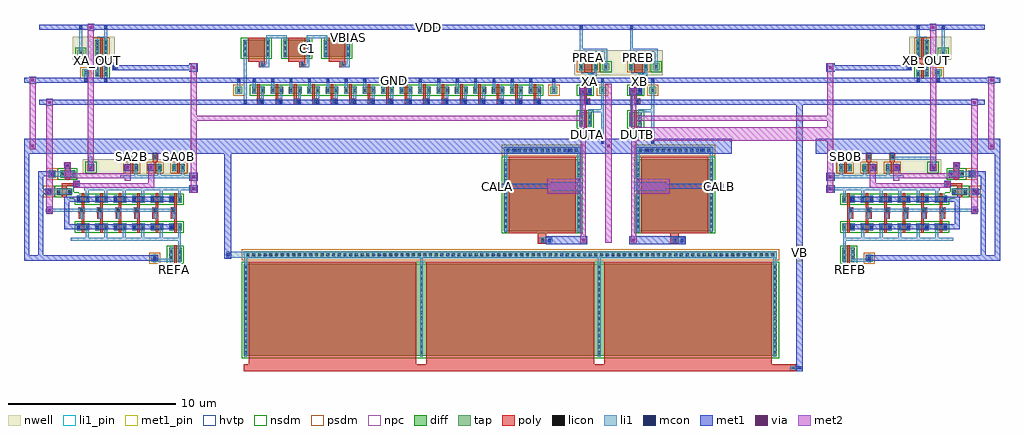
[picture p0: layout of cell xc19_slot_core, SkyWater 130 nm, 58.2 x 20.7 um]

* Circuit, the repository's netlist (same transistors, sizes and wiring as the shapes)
* NGSPICE file created from xc19_slot_core.ext - technology: sky130A

.subckt xc19_slot_core XB_OUT SB0B SB1B REFB XA_OUT SA0B SA1B SA2B REFA VDD GND VBIAS
+ C1 PREA XA DUTA PREB XB DUTB VB CALA CALB
X0 XB PREB VDD VDD sky130_fd_pr__pfet_01v8_hvt ad=0.126 pd=1.44 as=0.126 ps=1.44 w=0.42 l=0.5
X1 VB VB GND GND sky130_fd_pr__nfet_01v8 ad=0.126 pd=1.44 as=0.126 ps=1.44 w=0.42 l=0.15
X2 a_n2000_n1632# VB a_n2090_n1632# GND sky130_fd_pr__nfet_01v8 ad=0.126 pd=1.44 as=0.126 ps=1.44 w=0.42 l=0.15
X3 GND a_7370_n924# GND GND sky130_fd_pr__nfet_01v8 ad=0.126 pd=1.44 as=19.482 ps=131.88 w=0.42 l=0.3
X4 a_7130_n1632# VB a_7040_n2004# GND sky130_fd_pr__nfet_01v8 ad=0.126 pd=1.44 as=0.126 ps=1.44 w=0.42 l=0.15
X5 a_7130_n1632# VB a_7040_n2004# GND sky130_fd_pr__nfet_01v8 ad=0.126 pd=1.44 as=0.126 ps=1.44 w=0.42 l=0.15
X6 GND XB GND GND sky130_fd_pr__nfet_01v8 ad=1.29 pd=9.2 as=0 ps=0 w=4.3 l=4
X7 XA PREA VDD VDD sky130_fd_pr__pfet_01v8_hvt ad=0.126 pd=1.44 as=0.126 ps=1.44 w=0.42 l=0.5
X8 VB VB GND GND sky130_fd_pr__nfet_01v8 ad=0.126 pd=1.44 as=0.126 ps=1.44 w=0.42 l=0.15
X9 VB VB GND GND sky130_fd_pr__nfet_01v8 ad=0.126 pd=1.44 as=0.126 ps=1.44 w=0.42 l=0.15
X10 XA VB a_n2090_n1632# GND sky130_fd_pr__nfet_01v8 ad=0.126 pd=1.44 as=0.126 ps=1.44 w=0.42 l=0.15
X11 XA VB a_n2090_n1632# GND sky130_fd_pr__nfet_01v8 ad=0.126 pd=1.44 as=0.126 ps=1.44 w=0.42 l=0.15
X12 GND REFB a_7040_n2004# GND sky130_fd_pr__nfet_01v8 ad=0.252 pd=2.28 as=0.252 ps=2.28 w=0.84 l=0.15
X13 GND XA GND GND sky130_fd_pr__nfet_01v8 ad=1.29 pd=9.2 as=0 ps=0 w=4.3 l=4
X14 a_7650_n924# VDD XB VDD sky130_fd_pr__pfet_01v8 ad=0.126 pd=1.44 as=0.126 ps=1.44 w=0.42 l=0.15
X15 a_7130_n1632# VB XB GND sky130_fd_pr__nfet_01v8 ad=0.126 pd=1.44 as=0.126 ps=1.44 w=0.42 l=0.15
X16 a_7130_n1632# VB XB GND sky130_fd_pr__nfet_01v8 ad=0.126 pd=1.44 as=0.126 ps=1.44 w=0.42 l=0.15
X17 XB_OUT XB VDD VDD sky130_fd_pr__pfet_01v8_hvt ad=0.3 pd=2.6 as=0.3 ps=2.6 w=1 l=0.15
X18 VB VB GND GND sky130_fd_pr__nfet_01v8 ad=0.126 pd=1.44 as=0.126 ps=1.44 w=0.42 l=0.15
X19 XB_OUT XB GND GND sky130_fd_pr__nfet_01v8 ad=0.195 pd=1.9 as=0.195 ps=1.9 w=0.65 l=0.15
X20 VB VB GND GND sky130_fd_pr__nfet_01v8 ad=0.126 pd=1.44 as=0.126 ps=1.44 w=0.42 l=0.15
X21 XA SA2B a_n2233_n890# VDD sky130_fd_pr__pfet_01v8 ad=0.126 pd=1.44 as=0.126 ps=1.44 w=0.42 l=0.15
X22 a_7370_n924# SB1B XB VDD sky130_fd_pr__pfet_01v8 ad=0.126 pd=1.44 as=0.126 ps=1.44 w=0.42 l=0.15
X23 VB VB GND GND sky130_fd_pr__nfet_01v8 ad=0.126 pd=1.44 as=0.126 ps=1.44 w=0.42 l=0.15
X24 GND a_n2233_n890# GND GND sky130_fd_pr__nfet_01v8 ad=0.126 pd=1.44 as=0 ps=0 w=0.42 l=0.3
X25 a_n2000_n1632# VB a_n2090_n1632# GND sky130_fd_pr__nfet_01v8 ad=0.126 pd=1.44 as=0.126 ps=1.44 w=0.42 l=0.15
X26 VB VB GND GND sky130_fd_pr__nfet_01v8 ad=0.126 pd=1.44 as=0.126 ps=1.44 w=0.42 l=0.15
X27 XA VB a_3900_n392# GND sky130_fd_pr__nfet_01v8 ad=0.126 pd=1.44 as=0.126 ps=1.44 w=0.42 l=0.15
X28 GND a_7650_n924# GND GND sky130_fd_pr__nfet_01v8 ad=0.126 pd=1.44 as=0 ps=0 w=0.42 l=0.3
X29 a_7130_n1632# VB a_7040_n2004# GND sky130_fd_pr__nfet_01v8 ad=0.126 pd=1.44 as=0.126 ps=1.44 w=0.42 l=0.15
X30 XB VB a_4500_n392# GND sky130_fd_pr__nfet_01v8 ad=0.126 pd=1.44 as=0.126 ps=1.44 w=0.42 l=0.15
X31 XA SA1B a_n2270_n1236# VDD sky130_fd_pr__pfet_01v8 ad=0.126 pd=1.44 as=0.126 ps=1.44 w=0.42 l=0.15
X32 a_7090_n924# SB0B XB VDD sky130_fd_pr__pfet_01v8 ad=0.126 pd=1.44 as=0.126 ps=1.44 w=0.42 l=0.15
X33 XA VB a_n2090_n1632# GND sky130_fd_pr__nfet_01v8 ad=0.126 pd=1.44 as=0.126 ps=1.44 w=0.42 l=0.15
X34 a_n2000_n1632# REFA GND GND sky130_fd_pr__nfet_01v8 ad=0.252 pd=2.28 as=0.252 ps=2.28 w=0.84 l=0.15
X35 VB VB GND GND sky130_fd_pr__nfet_01v8 ad=0.126 pd=1.44 as=0.126 ps=1.44 w=0.42 l=0.15
X36 XA SA0B a_n950_n924# VDD sky130_fd_pr__pfet_01v8 ad=0.126 pd=1.44 as=0.126 ps=1.44 w=0.42 l=0.15
X37 a_7130_n1632# VB XB GND sky130_fd_pr__nfet_01v8 ad=0.126 pd=1.44 as=0.126 ps=1.44 w=0.42 l=0.15
X38 VB VB GND GND sky130_fd_pr__nfet_01v8 ad=0.126 pd=1.44 as=0.126 ps=1.44 w=0.42 l=0.15
X39 VB VB GND GND sky130_fd_pr__nfet_01v8 ad=0.126 pd=1.44 as=0.126 ps=1.44 w=0.42 l=0.15
X40 GND VB GND GND sky130_fd_pr__nfet_01v8 ad=1.65 pd=6.1 as=0 ps=0 w=5.5 l=10
X41 VDD XA XA_OUT VDD sky130_fd_pr__pfet_01v8_hvt ad=0.3 pd=2.6 as=0.3 ps=2.6 w=1 l=0.15
X42 GND XA XA_OUT GND sky130_fd_pr__nfet_01v8 ad=0.195 pd=1.9 as=0.195 ps=1.9 w=0.65 l=0.15
X43 VB VB GND GND sky130_fd_pr__nfet_01v8 ad=0.126 pd=1.44 as=0.126 ps=1.44 w=0.42 l=0.15
X44 a_n48_382# a_n48_382# VB GND sky130_fd_pr__nfet_01v8 ad=0.3 pd=2.6 as=0.3 ps=2.6 w=1 l=1
X45 GND a_n2270_n1236# GND GND sky130_fd_pr__nfet_01v8 ad=0.126 pd=1.44 as=0 ps=0 w=0.42 l=0.3
X46 a_7130_n1632# VB a_7040_n2004# GND sky130_fd_pr__nfet_01v8 ad=0.126 pd=1.44 as=0.126 ps=1.44 w=0.42 l=0.15
X47 VB VB GND GND sky130_fd_pr__nfet_01v8 ad=0.126 pd=1.44 as=0.126 ps=1.44 w=0.42 l=0.15
X48 a_n2000_n1632# VB a_n2090_n1632# GND sky130_fd_pr__nfet_01v8 ad=0.126 pd=1.44 as=0.126 ps=1.44 w=0.42 l=0.15
X49 a_n2000_n1632# VB a_n2090_n1632# GND sky130_fd_pr__nfet_01v8 ad=0.126 pd=1.44 as=0.126 ps=1.44 w=0.42 l=0.15
X50 GND DUTB a_4500_n392# GND sky130_fd_pr__nfet_01v8 ad=0.252 pd=2.28 as=0.252 ps=2.28 w=0.84 l=0.15
X51 a_7130_n1632# VB XB GND sky130_fd_pr__nfet_01v8 ad=0.126 pd=1.44 as=0.126 ps=1.44 w=0.42 l=0.15
X52 a_7130_n1632# VB a_7040_n2004# GND sky130_fd_pr__nfet_01v8 ad=0.126 pd=1.44 as=0.126 ps=1.44 w=0.42 l=0.15
X53 GND VB GND GND sky130_fd_pr__nfet_01v8 ad=1.65 pd=11.6 as=0 ps=0 w=5.5 l=10
X54 a_7130_n1632# VB a_7040_n2004# GND sky130_fd_pr__nfet_01v8 ad=0.126 pd=1.44 as=0.126 ps=1.44 w=0.42 l=0.15
X55 VB VB GND GND sky130_fd_pr__nfet_01v8 ad=0.126 pd=1.44 as=0.126 ps=1.44 w=0.42 l=0.15
X56 VB VB GND GND sky130_fd_pr__nfet_01v8 ad=0.126 pd=1.44 as=0.126 ps=1.44 w=0.42 l=0.15
X57 XA VB a_n2090_n1632# GND sky130_fd_pr__nfet_01v8 ad=0.126 pd=1.44 as=0.126 ps=1.44 w=0.42 l=0.15
X58 XA VB a_n2090_n1632# GND sky130_fd_pr__nfet_01v8 ad=0.126 pd=1.44 as=0.126 ps=1.44 w=0.42 l=0.15
X59 GND VB GND GND sky130_fd_pr__nfet_01v8 ad=1.65 pd=6.1 as=0 ps=0 w=5.5 l=10
X60 GND DUTA a_3900_n392# GND sky130_fd_pr__nfet_01v8 ad=0.252 pd=2.28 as=0.252 ps=2.28 w=0.84 l=0.15
X61 a_7130_n1632# VB XB GND sky130_fd_pr__nfet_01v8 ad=0.126 pd=1.44 as=0.126 ps=1.44 w=0.42 l=0.15
X62 a_7130_n1632# VB XB GND sky130_fd_pr__nfet_01v8 ad=0.126 pd=1.44 as=0.126 ps=1.44 w=0.42 l=0.15
X63 C1 C1 a_n48_382# GND sky130_fd_pr__nfet_01v8 ad=0.3 pd=2.6 as=0.3 ps=2.6 w=1 l=1
X64 VB VB GND GND sky130_fd_pr__nfet_01v8 ad=0.126 pd=1.44 as=0.126 ps=1.44 w=0.42 l=0.15
X65 VBIAS VBIAS C1 GND sky130_fd_pr__nfet_01v8 ad=0.3 pd=2.6 as=0.3 ps=2.6 w=1 l=1
X66 a_n2000_n1632# VB a_n2090_n1632# GND sky130_fd_pr__nfet_01v8 ad=0.126 pd=1.44 as=0.126 ps=1.44 w=0.42 l=0.15
X67 VB VB GND GND sky130_fd_pr__nfet_01v8 ad=0.126 pd=1.44 as=0.126 ps=1.44 w=0.42 l=0.15
X68 XA VB a_n2090_n1632# GND sky130_fd_pr__nfet_01v8 ad=0.126 pd=1.44 as=0.126 ps=1.44 w=0.42 l=0.15
X69 a_n2000_n1632# VB a_n2090_n1632# GND sky130_fd_pr__nfet_01v8 ad=0.126 pd=1.44 as=0.126 ps=1.44 w=0.42 l=0.15
.ends

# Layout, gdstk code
import gdstk
lib = gdstk.Library(unit=1e-6, precision=1e-09)
def R(c, l, rs):  # rectangles x0, y0, x1, y1
    for r in rs: c.add(gdstk.rectangle(r[:2], r[2:], *l))
def A(c, l, x, y, w, h, nx, ny, dx, dy):  # array of equal rectangles
    R(c, l, [(x+i*dx, y+j*dy, x+i*dx+w, y+j*dy+h) for i in range(nx) for j in range(ny)])
nwell = (64, 20)
diff = (65, 20)
tap = (65, 44)
poly = (66, 20)
licon = (66, 44)
li1_pin = (67, 16)
li1 = (67, 20)
mcon = (67, 44)
met1_pin = (68, 16)
met1 = (68, 20)
via = (68, 44)
met2 = (69, 20)
hvtp = (78, 44)
nsdm = (93, 44)
psdm = (94, 20)
npc = (95, 20)

xc19_slot_core = lib.new_cell('xc19_slot_core')
R(xc19_slot_core, nwell, [(-10.1,-4.82,-3.8,-3.92), (34.8,-4.82,41.1,-3.92), (19.2,1.1,24.5,2.6), (-10.7,2.02,-8.2,3.4), (39.2,2.02,41.7,3.4)])
A(xc19_slot_core, diff, -10.45, -8.16, 0.75, 0.42, 6, 2, 1.1, 1.66)
A(xc19_slot_core, diff, 35.2, -8.16, 0.75, 0.42, 6, 2, 1.1, 1.66)
A(xc19_slot_core, diff, -7.55, -4.62, 0.75, 0.42, 3, 1, 1.4, 0)
A(xc19_slot_core, diff, 35, -4.62, 0.75, 0.42, 3, 1, 1.4, 0)
A(xc19_slot_core, diff, 0, 0, 0.75, 0.42, 16, 1, 1.1, 0)
A(xc19_slot_core, diff, -0.54, 2.2, 1.6, 1, 3, 1, 2.4, 0)
R(xc19_slot_core, diff, [(-0.5,-15.64,31.3,-10.14), (-4.95,-10.02,-4.2,-9.18), (35.2,-10.02,35.95,-9.18), (15,-8.2,19.6,-3.9), (22.9,-8.2,27.5,-3.9), (-11.65,-6.05,-10.75,-5.63), (41.75,-6.05,42.65,-5.63), (-11.45,-5,-10.55,-4.58), (41.55,-5,42.45,-4.58), (19.5,-1.96,20.25,-1.12), (22.5,-1.96,23.25,-1.12), (19.5,0,20.25,0.42), (22.5,0,23.25,0.42), (-9.35,1.03,-8.6,1.68), (39.6,1.03,40.35,1.68), (19.5,1.4,20.6,1.82), (22.5,1.4,23.6,1.82), (-9.35,2.2,-8.6,3.2), (39.6,2.2,40.35,3.2)])
R(xc19_slot_core, tap, [(-6.02,-10.02,-5.6,-9.6), (36.6,-10.02,37.02,-9.6), (-0.5,-9.82,31.3,-9.4), (-12.34,-6.05,-11.92,-5.63), (42.92,-6.05,43.34,-5.63), (-12.14,-5,-11.72,-4.58), (42.72,-5,43.14,-4.58), (-9.82,-4.62,-9.4,-4.2), (40.4,-4.62,40.82,-4.2), (15,-3.58,19.6,-3.16), (22.9,-3.58,27.5,-3.16), (-1.01,0,-0.59,0.42), (17.79,0,18.21,0.42), (20.69,0,21.11,0.42), (23.69,0,24.11,0.42), (-10.12,1.03,-9.7,1.45), (40.7,1.03,41.12,1.45), (20.89,1.4,21.31,1.82), (23.89,1.4,24.31,1.82), (-10.42,2.2,-10,2.62), (41,2.2,41.42,2.62)])
A(xc19_slot_core, poly, -0.2, -16.14, 10, 6.13, 3, 1, 10.6, 0)
A(xc19_slot_core, poly, -10.15, -8.29, 0.15, 0.84, 6, 2, 1.1, 1.5)
A(xc19_slot_core, poly, 35.5, -8.29, 0.15, 0.84, 6, 2, 1.1, 1.5)
A(xc19_slot_core, poly, -10.34, -7.45, 0.34, 0.66, 6, 1, 1.1, 0)
A(xc19_slot_core, poly, 35.5, -7.45, 0.34, 0.66, 6, 1, 1.1, 0)
A(xc19_slot_core, poly, -7.25, -4.75, 0.15, 0.68, 3, 1, 1.4, 0)
A(xc19_slot_core, poly, 35.3, -4.75, 0.15, 0.68, 3, 1, 1.4, 0)
A(xc19_slot_core, poly, -7.335, -4.07, 0.32, 0.55, 3, 1, 1.4, 0)
A(xc19_slot_core, poly, 35.215, -4.07, 0.32, 0.55, 3, 1, 1.4, 0)
A(xc19_slot_core, poly, 0.3, -0.62, 0.34, 0.33, 16, 1, 1.1, 0)
A(xc19_slot_core, poly, 0.3, -0.29, 0.15, 0.84, 16, 1, 1.1, 0)
A(xc19_slot_core, poly, 0.42, 1.58, 0.34, 0.33, 3, 1, 2.4, 0)
A(xc19_slot_core, poly, -0.24, 1.91, 1, 1.42, 3, 1, 2.4, 0)
R(xc19_slot_core, poly, [(-0.5,-16.54,32.45,-16.14), (-4.84,-10.7,-4.5,-10.15), (35.5,-10.7,35.84,-10.15), (-4.65,-10.15,-4.5,-9.05), (35.5,-10.15,35.65,-9.05), (17.05,-8.95,17.55,-8.33), (24.95,-8.95,25.45,-8.33), (15.3,-8.33,19.3,-3.77), (23.2,-8.33,27.2,-3.77), (-11.35,-6.18,-11.05,-5.5), (42.05,-6.18,42.35,-5.5), (-10.63,-5.555,-10.3,-5.5), (41.3,-5.555,41.63,-5.5), (-11.35,-5.5,-10.3,-5.34), (41.3,-5.5,42.35,-5.34), (-10.63,-5.34,-10.3,-5.225), (41.3,-5.34,41.63,-5.225), (-11.15,-5.13,-10.85,-4.45), (41.85,-5.13,42.15,-4.45), (-11.165,-4.45,-10.835,-4.12), (41.835,-4.45,42.165,-4.12), (19.8,-2.62,20.14,-2.09), (22.8,-2.62,23.14,-2.09), (19.8,-2.09,19.95,-0.99), (22.8,-2.09,22.95,-0.99), (19.8,-0.62,20.14,-0.29), (22.8,-0.62,23.14,-0.29), (19.8,-0.29,19.95,0.55), (22.8,-0.29,22.95,0.55), (-9.05,0.9,-8.9,1.8), (39.9,0.9,40.05,1.8), (19.8,1.27,20.3,1.95), (22.8,1.27,23.3,1.95), (-9.05,1.8,-8,2.1), (39,1.8,40.05,2.1), (19.915,1.95,20.185,2.37), (22.915,1.95,23.185,2.37), (-9.05,2.1,-8.9,3.33), (39.9,2.1,40.05,3.33)])
A(xc19_slot_core, licon, -0.46, -15.525, 0.17, 0.17, 1, 16, 0, 0.34)
A(xc19_slot_core, licon, 10.015, -15.525, 0.17, 0.17, 1, 16, 0, 0.34)
A(xc19_slot_core, licon, 20.615, -15.525, 0.17, 0.17, 1, 16, 0, 0.34)
A(xc19_slot_core, licon, 31.09, -15.525, 0.17, 0.17, 1, 16, 0, 0.34)
A(xc19_slot_core, licon, -0.325, -9.695, 0.17, 0.17, 93, 1, 0.34, 0)
A(xc19_slot_core, licon, 15.04, -8.005, 0.17, 0.17, 1, 12, 0, 0.34)
A(xc19_slot_core, licon, 19.39, -8.005, 0.17, 0.17, 1, 12, 0, 0.34)
A(xc19_slot_core, licon, 22.94, -8.005, 0.17, 0.17, 1, 12, 0, 0.34)
A(xc19_slot_core, licon, 27.29, -8.005, 0.17, 0.17, 1, 12, 0, 0.34)
A(xc19_slot_core, licon, -10.26, -7.04, 0.17, 0.17, 6, 1, 1.1, 0)
A(xc19_slot_core, licon, 35.59, -7.04, 0.17, 0.17, 6, 1, 1.1, 0)
A(xc19_slot_core, licon, -7.26, -3.85, 0.17, 0.17, 3, 1, 1.4, 0)
A(xc19_slot_core, licon, 35.29, -3.85, 0.17, 0.17, 3, 1, 1.4, 0)
A(xc19_slot_core, licon, 15.175, -3.455, 0.17, 0.17, 13, 1, 0.34, 0)
A(xc19_slot_core, licon, 23.075, -3.455, 0.17, 0.17, 13, 1, 0.34, 0)
A(xc19_slot_core, licon, 0.39, -0.54, 0.17, 0.17, 16, 1, 1.1, 0)
A(xc19_slot_core, licon, 0.51, 1.66, 0.17, 0.17, 3, 1, 2.4, 0)
A(xc19_slot_core, licon, -9.31, 2.275, 0.17, 0.17, 1, 3, 0, 0.34)
A(xc19_slot_core, licon, -8.81, 2.275, 0.17, 0.17, 1, 3, 0, 0.34)
A(xc19_slot_core, licon, -0.5, 2.275, 0.17, 0.17, 1, 3, 0, 0.34)
A(xc19_slot_core, licon, 0.85, 2.275, 0.17, 0.17, 1, 3, 0, 0.34)
A(xc19_slot_core, licon, 1.9, 2.275, 0.17, 0.17, 1, 3, 0, 0.34)
A(xc19_slot_core, licon, 3.25, 2.275, 0.17, 0.17, 1, 3, 0, 0.34)
A(xc19_slot_core, licon, 4.3, 2.275, 0.17, 0.17, 1, 3, 0, 0.34)
A(xc19_slot_core, licon, 5.65, 2.275, 0.17, 0.17, 1, 3, 0, 0.34)
A(xc19_slot_core, licon, 39.64, 2.275, 0.17, 0.17, 1, 3, 0, 0.34)
A(xc19_slot_core, licon, 40.14, 2.275, 0.17, 0.17, 1, 3, 0, 0.34)
R(xc19_slot_core, licon, [(32.2,-16.425,32.37,-16.255), (-4.76,-10.58,-4.59,-10.41), (35.59,-10.58,35.76,-10.41), (-5.895,-9.895,-5.725,-9.725), (36.725,-9.895,36.895,-9.725), (-4.91,-9.855,-4.74,-9.685), (-4.41,-9.855,-4.24,-9.685), (35.24,-9.855,35.41,-9.685), (35.74,-9.855,35.91,-9.685), (-4.91,-9.515,-4.74,-9.345), (-4.41,-9.515,-4.24,-9.345), (35.24,-9.515,35.41,-9.345), (35.74,-9.515,35.91,-9.345), (17.215,-8.82,17.385,-8.65), (25.115,-8.82,25.285,-8.65), (-10.41,-8.035,-10.24,-7.865), (-9.91,-8.035,-9.74,-7.865), (-9.31,-8.035,-9.14,-7.865), (-8.81,-8.035,-8.64,-7.865), (-8.21,-8.035,-8.04,-7.865), (-7.71,-8.035,-7.54,-7.865), (-7.11,-8.035,-6.94,-7.865), (-6.61,-8.035,-6.44,-7.865), (-6.01,-8.035,-5.84,-7.865), (-5.51,-8.035,-5.34,-7.865), (-4.91,-8.035,-4.74,-7.865), (-4.41,-8.035,-4.24,-7.865), (35.24,-8.035,35.41,-7.865), (35.74,-8.035,35.91,-7.865), (36.34,-8.035,36.51,-7.865), (36.84,-8.035,37.01,-7.865), (37.44,-8.035,37.61,-7.865), (37.94,-8.035,38.11,-7.865), (38.54,-8.035,38.71,-7.865), (39.04,-8.035,39.21,-7.865), (39.64,-8.035,39.81,-7.865), (40.14,-8.035,40.31,-7.865), (40.74,-8.035,40.91,-7.865), (41.24,-8.035,41.41,-7.865), (-10.41,-6.375,-10.24,-6.205), (-9.91,-6.375,-9.74,-6.205), (-9.31,-6.375,-9.14,-6.205), (-8.81,-6.375,-8.64,-6.205), (-8.21,-6.375,-8.04,-6.205), (-7.71,-6.375,-7.54,-6.205), (-7.11,-6.375,-6.94,-6.205), (-6.61,-6.375,-6.44,-6.205), (-6.01,-6.375,-5.84,-6.205), (-5.51,-6.375,-5.34,-6.205), (-4.91,-6.375,-4.74,-6.205), (-4.41,-6.375,-4.24,-6.205), (35.24,-6.375,35.41,-6.205), (35.74,-6.375,35.91,-6.205), (36.34,-6.375,36.51,-6.205), (36.84,-6.375,37.01,-6.205), (37.44,-6.375,37.61,-6.205), (37.94,-6.375,38.11,-6.205), (38.54,-6.375,38.71,-6.205), (39.04,-6.375,39.21,-6.205), (39.64,-6.375,39.81,-6.205), (40.14,-6.375,40.31,-6.205), (40.74,-6.375,40.91,-6.205), (41.24,-6.375,41.41,-6.205), (-12.215,-5.925,-12.045,-5.755), (-11.61,-5.925,-11.44,-5.755), (-10.96,-5.925,-10.79,-5.755), (41.79,-5.925,41.96,-5.755), (42.44,-5.925,42.61,-5.755), (43.045,-5.925,43.215,-5.755), (-10.55,-5.475,-10.38,-5.305), (41.38,-5.475,41.55,-5.305), (-12.015,-4.875,-11.845,-4.705), (-11.41,-4.875,-11.24,-4.705), (-10.76,-4.875,-10.59,-4.705), (41.59,-4.875,41.76,-4.705), (42.24,-4.875,42.41,-4.705), (42.845,-4.875,43.015,-4.705), (-9.695,-4.495,-9.525,-4.325), (-7.51,-4.495,-7.34,-4.325), (-7.01,-4.495,-6.84,-4.325), (-6.11,-4.495,-5.94,-4.325), (-5.61,-4.495,-5.44,-4.325), (-4.71,-4.495,-4.54,-4.325), (-4.21,-4.495,-4.04,-4.325), (35.04,-4.495,35.21,-4.325), (35.54,-4.495,35.71,-4.325), (36.44,-4.495,36.61,-4.325), (36.94,-4.495,37.11,-4.325), (37.84,-4.495,38.01,-4.325), (38.34,-4.495,38.51,-4.325), (40.525,-4.495,40.695,-4.325), (-11.085,-4.37,-10.915,-4.2), (41.915,-4.37,42.085,-4.2), (19.89,-2.54,20.06,-2.37), (22.89,-2.54,23.06,-2.37), (19.54,-1.795,19.71,-1.625), (20.04,-1.795,20.21,-1.625), (22.54,-1.795,22.71,-1.625), (23.04,-1.795,23.21,-1.625), (19.54,-1.455,19.71,-1.285), (20.04,-1.455,20.21,-1.285), (22.54,-1.455,22.71,-1.285), (23.04,-1.455,23.21,-1.285), (19.89,-0.54,20.06,-0.37), (22.89,-0.54,23.06,-0.37), (-0.885,0.125,-0.715,0.295), (0.04,0.125,0.21,0.295), (0.54,0.125,0.71,0.295), (1.14,0.125,1.31,0.295), (1.64,0.125,1.81,0.295), (2.24,0.125,2.41,0.295), (2.74,0.125,2.91,0.295), (3.34,0.125,3.51,0.295), (3.84,0.125,4.01,0.295), (4.44,0.125,4.61,0.295), (4.94,0.125,5.11,0.295), (5.54,0.125,5.71,0.295), (6.04,0.125,6.21,0.295), (6.64,0.125,6.81,0.295), (7.14,0.125,7.31,0.295), (7.74,0.125,7.91,0.295), (8.24,0.125,8.41,0.295), (8.84,0.125,9.01,0.295), (9.34,0.125,9.51,0.295), (9.94,0.125,10.11,0.295), (10.44,0.125,10.61,0.295), (11.04,0.125,11.21,0.295), (11.54,0.125,11.71,0.295), (12.14,0.125,12.31,0.295), (12.64,0.125,12.81,0.295), (13.24,0.125,13.41,0.295), (13.74,0.125,13.91,0.295), (14.34,0.125,14.51,0.295), (14.84,0.125,15.01,0.295), (15.44,0.125,15.61,0.295), (15.94,0.125,16.11,0.295), (16.54,0.125,16.71,0.295), (17.04,0.125,17.21,0.295), (17.915,0.125,18.085,0.295), (19.54,0.125,19.71,0.295), (20.04,0.125,20.21,0.295), (20.815,0.125,20.985,0.295), (22.54,0.125,22.71,0.295), (23.04,0.125,23.21,0.295), (23.815,0.125,23.985,0.295), (-9.31,1.1,-9.14,1.27), (-8.81,1.1,-8.64,1.27), (39.64,1.1,39.81,1.27), (40.14,1.1,40.31,1.27), (-9.995,1.155,-9.825,1.325), (40.825,1.155,40.995,1.325), (-9.31,1.44,-9.14,1.61), (-8.81,1.44,-8.64,1.61), (39.64,1.44,39.81,1.61), (40.14,1.44,40.31,1.61), (19.54,1.525,19.71,1.695), (20.39,1.525,20.56,1.695), (21.015,1.525,21.185,1.695), (22.54,1.525,22.71,1.695), (23.39,1.525,23.56,1.695), (24.015,1.525,24.185,1.695), (-8.27,1.865,-8.1,2.035), (39.1,1.865,39.27,2.035), (19.965,2.07,20.135,2.24), (22.965,2.07,23.135,2.24), (-10.295,2.325,-10.125,2.495), (41.125,2.325,41.295,2.495)])
A(xc19_slot_core, li1_pin, -7.26, -3.93, 0.17, 0.35, 3, 1, 1.4, 0)
R(xc19_slot_core, li1_pin, [(-4.76,-10.67,-4.59,-10.32), (35.59,-10.67,35.76,-10.32), (35.29,-3.93,35.46,-3.58), (36.69,-3.93,36.86,-3.58), (19.89,-2.62,20.06,-2.29), (22.89,-2.62,23.06,-2.29), (20.04,0.6,20.21,0.9), (23.04,0.6,23.21,0.9), (-9.31,1.8,-9.14,2.1), (40.14,1.8,40.31,2.1), (19.965,1.99,20.135,2.32), (22.965,1.99,23.135,2.32), (3.25,2.4,3.42,3), (5.65,3.2,5.82,3.47)])
A(xc19_slot_core, li1, -9.91, -8.59, 0.17, 0.87, 6, 1, 1.1, 0)
A(xc19_slot_core, li1, 35.24, -8.59, 0.17, 0.87, 6, 1, 1.1, 0)
A(xc19_slot_core, li1, -10.41, -8.18, 0.17, 0.46, 6, 2, 1.1, 1.66)
A(xc19_slot_core, li1, 35.74, -8.18, 0.17, 0.46, 6, 2, 1.1, 1.66)
A(xc19_slot_core, li1, -10.26, -7.45, 0.17, 0.41, 6, 1, 1.1, 0)
A(xc19_slot_core, li1, 35.59, -7.45, 0.17, 0.41, 6, 1, 1.1, 0)
A(xc19_slot_core, li1, -10.26, -6.87, 0.17, 0.08, 6, 1, 1.1, 0)
A(xc19_slot_core, li1, 35.59, -6.87, 0.17, 0.08, 6, 1, 1.1, 0)
A(xc19_slot_core, li1, -9.91, -6.52, 0.17, 0.77, 6, 1, 1.1, 0)
A(xc19_slot_core, li1, 35.24, -6.52, 0.17, 0.77, 6, 1, 1.1, 0)
A(xc19_slot_core, li1, -7.01, -4.88, 0.17, 0.7, 3, 1, 1.4, 0)
A(xc19_slot_core, li1, 35.04, -4.88, 0.17, 0.7, 3, 1, 1.4, 0)
A(xc19_slot_core, li1, -7.51, -4.64, 0.17, 0.46, 3, 1, 1.4, 0)
A(xc19_slot_core, li1, 35.54, -4.64, 0.17, 0.46, 3, 1, 1.4, 0)
A(xc19_slot_core, li1, -7.26, -3.93, 0.17, 0.35, 3, 1, 1.4, 0)
A(xc19_slot_core, li1, 0.39, -0.62, 0.32, 0.33, 16, 1, 1.1, 0)
A(xc19_slot_core, li1, 0.54, -0.29, 0.17, 0.73, 16, 1, 1.1, 0)
A(xc19_slot_core, li1, 0.04, -0.02, 0.17, 0.97, 16, 1, 1.1, 0)
A(xc19_slot_core, li1, 0.51, 1.58, 0.51, 0.17, 3, 1, 2.4, 0)
A(xc19_slot_core, li1, 0.51, 1.75, 0.17, 0.16, 3, 1, 2.4, 0)
R(xc19_slot_core, li1, [(32.12,-16.425,32.8,-16.255), (-0.46,-15.69,-0.29,-9.78), (10.015,-15.69,10.185,-9.78), (20.615,-15.69,20.785,-9.78), (31.09,-15.69,31.26,-9.78), (-4.76,-10.67,-4.59,-10.32), (35.59,-10.67,35.76,-10.32), (-5.895,-10.04,-5.725,-10.02), (-4.91,-10.04,-4.74,-10.02), (-4.41,-10.04,-4.24,-8.76), (35.24,-10.04,35.41,-8.76), (35.74,-10.04,35.91,-10.02), (36.725,-10.04,36.895,-10.02), (-5.895,-10.02,-4.74,-9.85), (35.74,-10.02,36.895,-9.85), (-5.895,-9.85,-5.725,-9.58), (-4.91,-9.85,-4.74,-9.16), (35.74,-9.85,35.91,-9.16), (36.725,-9.85,36.895,-9.58), (-1.55,-9.78,31.3,-9.44), (17.215,-8.9,17.9,-8.57), (25.115,-8.9,25.8,-8.57), (-10.8,-8.76,-4.24,-8.59), (35.24,-8.76,41.8,-8.59), (15.04,-8.25,15.21,-3.54), (19.39,-8.25,19.56,-3.54), (22.94,-8.25,23.11,-3.54), (27.29,-8.25,27.46,-3.54), (-12.3,-7.04,-4.59,-6.87), (35.59,-7.04,43.3,-6.87), (-12.295,-6.01,-10.71,-5.67), (41.71,-6.01,43.295,-5.67), (-10,-5.75,-3.3,-5.58), (34.3,-5.75,41,-5.58), (-10.63,-5.475,-10.3,-5.305), (41.3,-5.475,41.63,-5.305), (-7.85,-5.05,-3.3,-4.88), (34.3,-5.05,38.85,-4.88), (-12.095,-4.96,-10.51,-4.62), (41.51,-4.96,43.095,-4.62), (-9.775,-4.64,-9.525,-3.76), (40.525,-4.64,40.775,-3.93), (-11.165,-4.37,-10.835,-4.2), (41.835,-4.37,42.165,-4.2), (35.29,-3.93,35.46,-3.58), (36.69,-3.93,36.86,-3.58), (38.09,-3.93,40.775,-3.76), (38.09,-3.76,38.26,-3.58), (15,-3.54,19.6,-3.2), (22.9,-3.54,27.5,-3.2), (20.815,-3,20.985,-1.1), (23.815,-3,23.985,-1.1), (19.89,-2.62,20.06,-2.29), (22.89,-2.62,23.06,-2.29), (19.54,-1.98,19.71,0.44), (20.04,-1.98,20.21,-1.1), (22.54,-1.98,22.71,0.44), (23.04,-1.98,23.21,-1.1), (20.04,-1.1,20.985,-0.93), (23.04,-1.1,23.985,-0.93), (20.815,-0.93,20.985,0.95), (23.815,-0.93,23.985,0.95), (-0.5,-0.62,-0.33,3.22), (19.89,-0.62,20.06,-0.29), (22.89,-0.62,23.06,-0.29), (-0.885,-0.02,-0.715,0.95), (17.915,-0.02,18.085,0.95), (20.04,-0.02,20.21,1.03), (23.04,-0.02,23.21,1.03), (-9.995,0.66,-9.825,1.47), (-8.81,0.66,-8.64,1.7), (39.64,0.66,39.81,1.7), (40.825,0.66,40.995,1.47), (-9.31,1.01,-9.14,3.22), (40.14,1.01,40.31,3.22), (20.04,1.03,20.56,1.2), (23.04,1.03,23.56,1.2), (20.39,1.2,20.56,1.84), (23.39,1.2,23.56,1.84), (19.54,1.38,19.71,2.5), (21.015,1.38,21.185,2.5), (22.54,1.38,22.71,2.5), (24.015,1.38,24.185,2.5), (-8.35,1.4,-8.02,2.1), (39.02,1.4,39.35,2.1), (0.85,1.75,1.02,3.3), (3.25,1.75,3.42,3.3), (5.65,1.75,5.82,3.7), (19.965,1.99,20.135,2.32), (22.965,1.99,23.135,2.32), (-10.295,2.18,-10.125,4.1), (-8.81,2.18,-8.64,4.1), (1.9,2.18,2.07,3.3), (4.3,2.18,4.47,3.3), (39.64,2.18,39.81,4.1), (41.125,2.18,41.295,4.1), (19.54,2.5,21.185,2.67), (22.54,2.5,24.185,2.67), (19.54,2.67,19.71,4.1), (22.54,2.67,22.71,4.1), (0.85,3.3,2.07,3.47), (3.25,3.3,4.47,3.47)])
A(xc19_slot_core, mcon, -10.41, -8.035, 0.17, 0.17, 6, 2, 1.1, 1.66)
A(xc19_slot_core, mcon, 35.74, -8.035, 0.17, 0.17, 6, 2, 1.1, 1.66)
A(xc19_slot_core, mcon, 0.54, -0.6, 0.17, 0.17, 16, 1, 1.1, 0)
A(xc19_slot_core, mcon, 0.04, 0.72, 0.17, 0.17, 16, 1, 1.1, 0)
R(xc19_slot_core, mcon, [(32.55,-16.425,32.72,-16.255), (-5.895,-9.895,-5.725,-9.725), (36.725,-9.895,36.895,-9.725), (-1.5,-9.695,-1.33,-9.525), (17.65,-8.82,17.82,-8.65), (25.55,-8.82,25.72,-8.65), (-12.17,-7.04,-12,-6.87), (43,-7.04,43.17,-6.87), (-12.215,-5.925,-12.045,-5.755), (43.045,-5.925,43.215,-5.755), (-3.57,-5.75,-3.4,-5.58), (34.4,-5.75,34.57,-5.58), (-10.55,-5.475,-10.38,-5.305), (41.38,-5.475,41.55,-5.305), (-3.57,-5.05,-3.4,-4.88), (34.4,-5.05,34.57,-4.88), (-12.015,-4.875,-11.845,-4.705), (42.845,-4.875,43.015,-4.705), (-9.695,-4.495,-9.525,-4.325), (-7.51,-4.495,-7.34,-4.325), (-6.11,-4.495,-5.94,-4.325), (36.94,-4.495,37.11,-4.325), (38.34,-4.495,38.51,-4.325), (40.525,-4.495,40.695,-4.325), (-11.085,-4.37,-10.915,-4.2), (41.915,-4.37,42.085,-4.2), (15.6,-3.455,15.77,-3.285), (18.83,-3.455,19,-3.285), (23.5,-3.455,23.67,-3.285), (26.73,-3.455,26.9,-3.285), (20.815,-2.98,20.985,-2.81), (23.815,-2.98,23.985,-2.81), (-0.5,-0.6,-0.33,-0.43), (19.89,-0.6,20.06,-0.43), (22.89,-0.6,23.06,-0.43), (20.04,0.05,20.21,0.22), (23.04,0.05,23.21,0.22), (-9.995,0.72,-9.825,0.89), (-8.81,0.72,-8.64,0.89), (-0.885,0.72,-0.715,0.89), (17.915,0.72,18.085,0.89), (20.815,0.72,20.985,0.89), (23.815,0.72,23.985,0.89), (39.64,0.72,39.81,0.89), (40.825,0.72,40.995,0.89), (-8.27,1.465,-8.1,1.635), (39.1,1.465,39.27,1.635), (-10.295,3.87,-10.125,4.04), (-8.81,3.87,-8.64,4.04), (19.54,3.87,19.71,4.04), (22.54,3.87,22.71,4.04), (39.64,3.87,39.81,4.04), (41.125,3.87,41.295,4.04)])
R(xc19_slot_core, met1_pin, [(32.45,-10,32.85,-9), (14.4,-5.68,14.9,-5.38), (27.6,-5.68,28.1,-5.38), (8,0.66,9,0.95), (10,3.81,11,4.1)])
R(xc19_slot_core, met1, [(32.45,-16.54,32.85,-0.66), (-13.6,-9.97,-5.6,-9.65), (36.6,-9.97,44.6,-9.65), (-1.65,-9.85,-1.25,-3.58), (-13.6,-9.65,-13.3,-3.58), (-12.75,-9.65,-12.45,-5.99), (43.45,-9.65,43.75,-5.99), (44.3,-9.65,44.6,-3.58), (17.5,-8.97,19.98,-8.5), (22.48,-8.97,25.85,-8.5), (-11.2,-8.1,-4.68,-7.8), (35.68,-8.1,42.2,-7.8), (-11.2,-7.8,-10.9,-6.44), (41.9,-7.8,42.2,-6.44), (-12.28,-7.155,-11.88,-6.755), (42.88,-7.155,43.28,-6.755), (-11.2,-6.44,-4.68,-6.14), (35.68,-6.44,42.2,-6.14), (-12.75,-5.99,-11.98,-5.69), (42.98,-5.99,43.75,-5.69), (-3.75,-5.9,-3.25,-5.45), (34.25,-5.9,34.75,-5.45), (17.8,-5.78,19.7,-5.68), (22.8,-5.78,24.7,-5.68), (-12.75,-5.69,-12.45,-4.94), (43.45,-5.69,43.75,-4.94), (14.4,-5.68,19.7,-5.38), (22.8,-5.68,28.1,-5.38), (-10.665,-5.59,-10.265,-5.19), (41.265,-5.59,41.665,-5.19), (17.8,-5.38,19.7,-5.28), (22.8,-5.38,24.7,-5.28), (-3.75,-5.2,-3.25,-4.73), (34.25,-5.2,34.75,-4.73), (-12.75,-4.94,-11.78,-4.64), (42.78,-4.94,43.75,-4.64), (-9.81,-4.61,-9.41,-4.21), (-7.625,-4.61,-7.225,-4.21), (-6.225,-4.61,-5.825,-4.21), (36.825,-4.61,37.225,-4.21), (38.225,-4.61,38.625,-4.21), (40.41,-4.61,40.81,-4.21), (-11.2,-4.485,-10.8,-4.085), (41.8,-4.485,42.2,-4.085), (-13.6,-3.58,28.6,-2.68), (33.6,-3.58,44.6,-2.68), (-12.28,-0.715,-11.88,-0.66), (42.88,-0.715,43.28,-0.66), (-12.7,-0.66,43.7,-0.37), (-12.28,-0.37,-11.88,-0.315), (42.88,-0.37,43.28,-0.315), (19.5,-0.06,20.27,0.34), (22.5,-0.06,23.27,0.34), (-13.28,0.605,-12.88,0.66), (43.88,0.605,44.28,0.66), (-13.6,0.66,44.6,0.95), (-13.28,0.95,-12.88,1.005), (43.88,0.95,44.28,1.005), (-3.75,1.3,-3.25,1.4), (34.25,1.3,34.75,1.4), (-8.3,1.4,-3.25,1.7), (34.25,1.4,39.3,1.7), (-3.75,1.7,-3.25,1.8), (34.25,1.7,34.75,1.8), (-9.81,3.755,-9.41,3.81), (40.41,3.755,40.81,3.81), (-12.7,3.81,43.7,4.1), (-9.81,4.1,-9.41,4.155), (40.41,4.1,40.81,4.155)])
R(xc19_slot_core, via, [(19.675,-8.81,19.825,-8.66), (22.675,-8.81,22.825,-8.66), (-12.155,-7.03,-12.005,-6.88), (43.005,-7.03,43.155,-6.88), (-3.555,-5.745,-3.405,-5.595), (34.405,-5.745,34.555,-5.595), (-10.54,-5.465,-10.39,-5.315), (41.39,-5.465,41.54,-5.315), (-3.555,-5.04,-3.405,-4.89), (34.405,-5.04,34.555,-4.89), (-9.685,-4.485,-9.535,-4.335), (-7.5,-4.485,-7.35,-4.335), (-6.1,-4.485,-5.95,-4.335), (36.95,-4.485,37.1,-4.335), (38.35,-4.485,38.5,-4.335), (40.535,-4.485,40.685,-4.335), (-11.075,-4.36,-10.925,-4.21), (41.925,-4.36,42.075,-4.21), (-13.155,-3.205,-13.005,-3.055), (21.175,-3.205,21.325,-3.055), (44.005,-3.205,44.155,-3.055), (-12.155,-0.59,-12.005,-0.44), (43.005,-0.59,43.155,-0.44), (19.675,0.065,19.825,0.215), (22.675,0.065,22.825,0.215), (-13.155,0.73,-13.005,0.88), (44.005,0.73,44.155,0.88), (-3.555,1.475,-3.405,1.625), (34.405,1.475,34.555,1.625), (-9.685,3.88,-9.535,4.03), (40.535,3.88,40.685,4.03)])
R(xc19_slot_core, met2, [(19.57,-8.905,19.93,-8.565), (22.57,-8.905,22.93,-8.565), (21.05,-8.9,21.45,0.6), (19.6,-8.565,19.9,-5.98), (22.6,-8.565,22.9,-5.98), (-12.26,-7.135,-11.9,-0.335), (42.9,-7.135,43.26,-0.335), (17.6,-5.98,19.9,-5.08), (22.6,-5.98,24.9,-5.08), (-3.66,-5.9,-3.3,-1.62), (34.3,-5.9,34.66,-2.8), (-10.645,-5.62,-5.845,-5.34), (36.845,-5.62,41.645,-5.34), (-10.645,-5.34,-10.285,-5.21), (-6.205,-5.34,-5.845,-4.23), (36.845,-5.34,37.205,-4.23), (41.285,-5.34,41.645,-5.21), (-7.605,-5.2,-7.245,-5.05), (38.245,-5.2,38.605,-5.05), (19.6,-5.08,19.9,-1.62), (22.6,-5.08,22.9,-2.8), (-11.18,-5.05,-7.245,-4.75), (38.245,-5.05,42.18,-4.75), (-11.18,-4.75,-10.82,-4.105), (-7.605,-4.75,-7.245,-4.23), (38.245,-4.75,38.605,-4.23), (41.82,-4.75,42.18,-4.105), (-9.79,-4.59,-9.43,4.135), (40.43,-4.59,40.79,4.135), (-13.26,-3.31,-12.9,0.985), (43.9,-3.31,44.26,0.985), (22.6,-2.8,34.66,-2), (22.6,-2,22.9,-1.62), (34.3,-2,34.66,-1.62), (-3.66,-1.62,19.9,-1.32), (22.6,-1.62,34.66,-1.32), (-3.66,-1.32,-3.3,1.8), (19.6,-1.32,19.9,-0.05), (22.6,-1.32,22.9,-0.05), (34.3,-1.32,34.66,1.8), (19.57,-0.05,19.93,0.33), (22.57,-0.05,22.93,0.33)])
R(xc19_slot_core, hvtp, [(19.62,1.22,20.48,2), (22.62,1.22,23.48,2), (-9.23,2.02,-8.72,3.38), (39.72,2.02,40.23,3.38)])
A(xc19_slot_core, nsdm, -0.665, 2.075, 1.85, 1.25, 3, 1, 2.4, 0)
R(xc19_slot_core, nsdm, [(-0.625,-15.765,31.425,-10.015), (-5.075,-10.145,-4.075,-9.055), (35.075,-10.145,36.075,-9.055), (14.875,-8.325,19.725,-3.775), (22.775,-8.325,27.625,-3.775), (-10.575,-8.285,-4.075,-7.615), (35.075,-8.285,41.575,-7.615), (-10.575,-6.625,-4.075,-6.255), (35.075,-6.625,41.575,-6.255), (-10.86,-6.255,-4.075,-6.175), (35.075,-6.255,41.86,-6.175), (-11.775,-6.175,-4.075,-5.955), (35.075,-6.175,42.775,-5.955), (-11.775,-5.955,-10.34,-5.875), (41.34,-5.955,42.775,-5.875), (-11.775,-5.875,-10.625,-5.505), (41.625,-5.875,42.775,-5.505), (-11.575,-5.125,-10.425,-4.455), (41.425,-5.125,42.575,-4.455), (-9.945,-4.745,-9.275,-4.075), (40.275,-4.745,40.945,-4.075), (19.375,-2.085,20.375,-0.995), (22.375,-2.085,23.375,-0.995), (-0.125,-0.125,17.375,0.545), (19.375,-0.125,20.375,0.545), (22.375,-0.125,23.375,0.545), (-9.475,0.905,-8.475,1.805), (39.475,0.905,40.475,1.805), (20.765,1.275,21.435,1.945), (23.765,1.275,24.435,1.945), (-10.545,2.075,-9.875,2.745), (40.875,2.075,41.545,2.745)])
A(xc19_slot_core, psdm, -7.675, -4.745, 1, 0.67, 3, 1, 1.4, 0)
A(xc19_slot_core, psdm, 34.875, -4.745, 1, 0.67, 3, 1, 1.4, 0)
R(xc19_slot_core, psdm, [(-6.145,-10.145,-5.475,-9.475), (36.475,-10.145,37.145,-9.475), (-0.625,-9.945,31.425,-9.275), (-12.465,-6.175,-11.795,-5.505), (42.795,-6.175,43.465,-5.505), (-12.265,-5.125,-11.595,-4.455), (42.595,-5.125,43.265,-4.455), (14.875,-3.705,19.725,-3.035), (22.775,-3.705,27.625,-3.035), (-1.135,-0.125,-0.465,0.545), (17.665,-0.125,18.335,0.545), (20.565,-0.125,21.235,0.545), (23.565,-0.125,24.235,0.545), (-10.245,0.905,-9.575,1.575), (40.575,0.905,41.245,1.575), (19.375,1.275,20.725,1.945), (22.375,1.275,23.725,1.945), (-9.475,2.075,-8.475,3.325), (39.475,2.075,40.475,3.325)])
A(xc19_slot_core, npc, -10.36, -7.14, 0.37, 0.37, 6, 1, 1.1, 0)
A(xc19_slot_core, npc, 35.49, -7.14, 0.37, 0.37, 6, 1, 1.1, 0)
A(xc19_slot_core, npc, -7.36, -3.95, 0.37, 0.37, 3, 1, 1.4, 0)
A(xc19_slot_core, npc, 35.19, -3.95, 0.37, 0.37, 3, 1, 1.4, 0)
A(xc19_slot_core, npc, 0.29, -0.64, 0.37, 0.37, 16, 1, 1.1, 0)
A(xc19_slot_core, npc, 0.41, 1.56, 0.37, 0.37, 3, 1, 2.4, 0)
R(xc19_slot_core, npc, [(32.1,-16.525,32.47,-16.155), (-4.86,-10.68,-4.49,-10.31), (35.49,-10.68,35.86,-10.31), (17.115,-8.92,17.485,-8.55), (25.015,-8.92,25.385,-8.55), (-10.65,-5.575,-10.28,-5.205), (41.28,-5.575,41.65,-5.205), (-11.185,-4.47,-10.815,-4.1), (41.815,-4.47,42.185,-4.1), (19.79,-2.64,20.16,-2.27), (22.79,-2.64,23.16,-2.27), (19.79,-0.64,20.16,-0.27), (22.79,-0.64,23.16,-0.27), (-8.37,1.765,-8,2.135), (39,1.765,39.37,2.135), (19.865,1.97,20.235,2.34), (22.865,1.97,23.235,2.34)])
xc19_slot_core.add(gdstk.Label('XB_OUT', (40.225,1.95), layer=67, texttype=5))
xc19_slot_core.add(gdstk.Label('SB0B', (35.375,-3.755), layer=67, texttype=5))
xc19_slot_core.add(gdstk.Label('SB1B', (36.775,-3.755), layer=67, texttype=5))
xc19_slot_core.add(gdstk.Label('REFB', (35.675,-10.495), layer=67, texttype=5))
xc19_slot_core.add(gdstk.Label('XA_OUT', (-9.225,1.95), layer=67, texttype=5))
xc19_slot_core.add(gdstk.Label('SA0B', (-4.375,-3.755), layer=67, texttype=5))
xc19_slot_core.add(gdstk.Label('SA1B', (-5.775,-3.755), layer=67, texttype=5))
xc19_slot_core.add(gdstk.Label('SA2B', (-7.175,-3.755), layer=67, texttype=5))
xc19_slot_core.add(gdstk.Label('REFA', (-4.675,-10.495), layer=67, texttype=5))
xc19_slot_core.add(gdstk.Label('VDD', (10.5,3.955), layer=68, texttype=5))
xc19_slot_core.add(gdstk.Label('GND', (8.5,0.805), layer=68, texttype=5))
xc19_slot_core.add(gdstk.Label('VBIAS', (5.735,3.335), layer=67, texttype=5))
xc19_slot_core.add(gdstk.Label('C1', (3.335,2.7), layer=67, texttype=5))
xc19_slot_core.add(gdstk.Label('PREA', (20.05,2.155), layer=67, texttype=5))
xc19_slot_core.add(gdstk.Label('XA', (20.125,0.75), layer=67, texttype=5))
xc19_slot_core.add(gdstk.Label('DUTA', (19.975,-2.455), layer=67, texttype=5))
xc19_slot_core.add(gdstk.Label('PREB', (23.05,2.155), layer=67, texttype=5))
xc19_slot_core.add(gdstk.Label('XB', (23.125,0.75), layer=67, texttype=5))
xc19_slot_core.add(gdstk.Label('DUTB', (22.975,-2.455), layer=67, texttype=5))
xc19_slot_core.add(gdstk.Label('VB', (32.65,-9.5), layer=68, texttype=5))
xc19_slot_core.add(gdstk.Label('CALA', (14.65,-5.53), layer=68, texttype=5))
xc19_slot_core.add(gdstk.Label('CALB', (27.85,-5.53), layer=68, texttype=5))

lib.write_gds('xc19_slot_core.gds')
